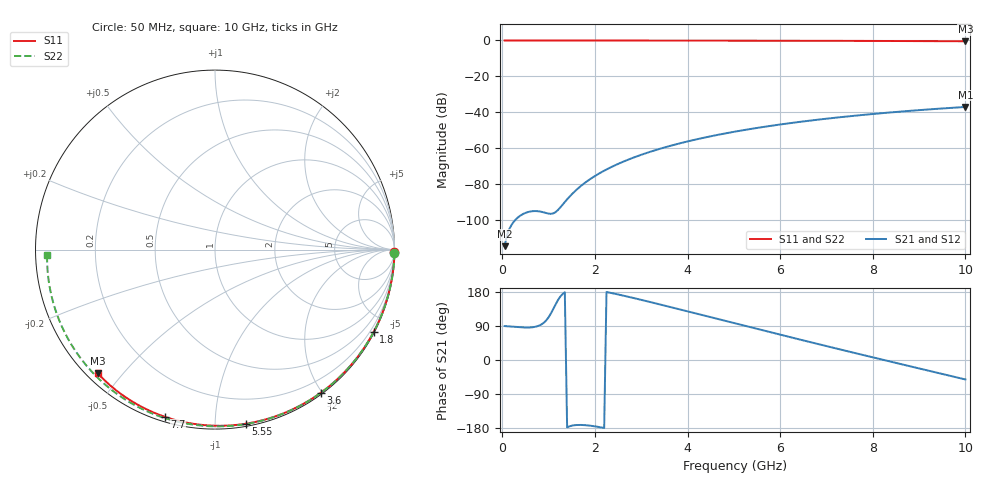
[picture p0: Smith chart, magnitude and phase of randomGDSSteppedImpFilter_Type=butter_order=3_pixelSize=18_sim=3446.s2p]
! freq	dB(S11)	phase(S11)	dB(S12)	phase(S12)
!  dB(S21)	phase(S21)	dB(S22)	phase(S22)
!S-par simulation data
#  GHz  S  DB  R 50
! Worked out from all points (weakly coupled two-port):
!   200 points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, 50 MHz to 10 GHz, reference 50 ohm
!   highest |S21| = -37.04 dB at 10 GHz (marker M1); lowest = -114.6 dB at 50 MHz (marker M2)
!   lowest |S11| = -0.4 dB at 10 GHz (marker M3), VSWR 38.84, Z = 1.52 - j21.5 ohm
!   |S11| at or under -10 dB: nowhere
!   |S22| runs from -0.6 to 0.0 dB; largest |S21 - S12| = 0
!   S11 on the Smith chart (normalised r, x): 50 MHz: open; 1.8 GHz: 0.04, -4.10; 3.6 GHz: 0.02, -1.98; 5.55 GHz: 0.02, -1.19; 7.7 GHz: 0.02, -0.74; 10 GHz: 0.03, -0.43
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0.05  -0.00 -0.8  -114.56 89.5  -114.56 89.5  -0.00 -1.0
0.45  -0.01 -7.0  -96.63 85.8  -96.63 85.8  -0.01 -9.2
0.85  -0.02 -13.1  -95.44 94.2  -95.44 94.2  -0.02 -17.2
1.3  -0.02 -19.9  -91.52 173.7  -91.52 173.7  -0.03 -26.2
1.75  -0.03 -26.6  -79.95 -171.6  -79.95 -171.6  -0.04 -35.1
1.8  -0.03 -27.4  -78.98 -172.0  -78.98 -172.0  -0.05 -36.0
1.95  -0.04 -29.6  -76.31 -174.2  -76.31 -174.2  -0.05 -39.0
2.1  -0.04 -31.9  -73.96 -177.1  -73.96 -177.1  -0.05 -41.9
2.3  -0.04 -34.8  -71.19 178.2  -71.19 178.2  -0.06 -45.7
2.5  -0.05 -37.7  -68.75 173.0  -68.75 173.0  -0.06 -49.5
2.9  -0.06 -43.6  -64.59 161.7  -64.59 161.7  -0.07 -57.1
3.4  -0.07 -50.7  -60.35 146.8  -60.35 146.8  -0.09 -66.3
3.6  -0.07 -53.5  -58.88 140.7  -58.88 140.7  -0.09 -70.0
4.3  -0.09 -63.3  -54.46 119.1  -54.46 119.1  -0.12 -82.5
5.05  -0.11 -73.4  -50.65 96.0  -50.65 96.0  -0.15 -95.4
5.55  -0.13 -79.9  -48.51 80.6  -48.51 80.6  -0.17 -103.9
6.1  -0.15 -87.0  -46.44 63.8  -46.44 63.8  -0.20 -113.0
6.7  -0.18 -94.5  -44.46 45.7  -44.46 45.7  -0.24 -122.9
7.7  -0.24 -106.7  -41.68 15.8  -41.68 15.8  -0.32 -139.1
8.35  -0.29 -114.4  -40.15 -3.3  -40.15 -3.3  -0.38 -149.8
9.2  -0.36 -124.3  -38.42 -28.1  -38.42 -28.1  -0.47 -164.0
10  -0.45 -133.5  -37.04 -51.4  -37.04 -51.4  -0.58 -178.1
